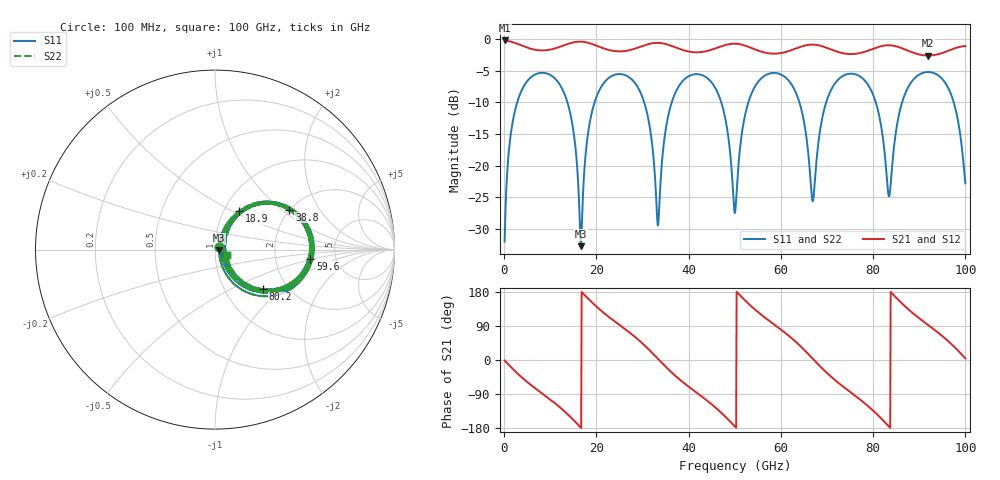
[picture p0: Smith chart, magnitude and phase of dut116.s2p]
! Touchstone file exported from HFSS 2026.1.0
!  File:  C:/ffzhzh/LocalFiles/Ansys_Project_Files/temp_train_TSV_RDL_116_1783636231_26216.aedt
!  Generated:  06:48:05 AM Jul 10, 2026
!  Design:  TSV_RDL
!  Project:  temp_train_TSV_RDL_116_1783636231_26216
! Variables:
!  h_bsmrdl = 3.19um
!  h_ox = 20um
!  h_rdl = 5um
!  h_sub = 59.42um
!  h_tmrdl = 2.45um
!  h_tsv = 59.42um
!  h_via = 3um
!  l_bsmrdl = 164.7um
!  l_sub = 3769.38um
!  l_tmrdl = 689.03um
!  m_sub = 200um
!  pitch = 49.9um
!  r_tsv = 7.75um
!  s_tmrdl = 10um
!  w_bsmrdl = 14.58um
!  w_sub = 500um
!  w_tmrdl = 25.14um
!  x_tsv_center1 = 701.6um
!  x_tsv_center2 = 880.88um
!  x_tsv_center3 = 1595.05um
!  x_tsv_center4 = 1774.33um
!  x_tsv_center5 = 2488.5um
!  x_tsv_center6 = 2667.78um
# GHz S MA R 50.000000
! Terminal data exported
! Port[1] = TM_RDL1_1_T1
! Port[2] = TM_RDL5_1_T1
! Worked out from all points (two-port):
!   1000 points, 100 MHz to 100 GHz, reference 50 ohm
!   highest |S21| = -0.19 dB at 100 MHz (marker M1); lowest = -2.6 dB at 91.9 GHz (marker M2)
!   |S21| within 3 dB of the highest: start of sweep to end of sweep
!   lowest |S11| = -32.7 dB at 16.6 GHz (marker M3), VSWR 1.05, Z = 52.3 - j0.376 ohm
!   |S11| at or under -10 dB: 30.36 GHz to 36.33 GHz (5.963 GHz wide, 17.9 % of centre); 47.07 GHz to 52.94 GHz (5.862 GHz wide, 11.7 % of centre); 64.02 GHz to 69.81 GHz (5.791 GHz wide, 8.65 % of centre) (the widest 3 of 7)
!   |S22| runs from -32.8 to -5.2 dB; largest |S21 - S12| = 4.2e-13
!   S11 on the Smith chart (normalised r, x): 100 MHz: 1.04, +0.03; 18.9 GHz: 1.18, +0.54; 38.8 GHz: 1.99, +1.14; 59.6 GHz: 3.21, -0.47; 80.2 GHz: 1.50, -0.76; 100 GHz: 1.14, -0.06
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0.1  0.02512 31.7  0.9789 -1.4  0.9789 -1.4  0.02512 31.7
! Gamma 0 0 0 0
! Port Impedance 50 0 50 0
2.5  0.287 53.5  0.9313 -31.1  0.9313 -31.1  0.287 53.5
8.1  0.5428 1.3  0.8164 -87.1  0.8164 -87.1  0.5428 1.3
13.9  0.3004 -52.8  0.9208 -144.8  0.9208 -144.8  0.3004 -52.9
16.6  0.02306 -9.0  0.9578 -178.0  0.9578 -178.0  0.02286 -9.1
16.8  0.03033 39.3  0.957 179.4  0.957 179.4  0.03018 39.5
18.9  0.2529 57.6  0.9212 153.6  0.9212 153.6  0.2529 57.6
28.4  0.4489 -28.3  0.8447 60.6  0.8447 60.6  0.4489 -28.3
33.4  0.03413 13.7  0.9373 2.5  0.9373 2.5  0.03419 13.6
38.8  0.4709 28.2  0.821 -59.0  0.821 -59.0  0.4709 28.2
46.3  0.3768 -37.0  0.8598 -130.6  0.8598 -130.6  0.3768 -37.1
50.1  0.04322 16.1  0.9224 -176.4  0.9224 -176.4  0.04218 16.3
53.2  0.3385 49.5  0.8648 145.9  0.8648 145.9  0.3383 49.7
59.6  0.5338 -5.7  0.7741 84.0  0.7741 84.0  0.5338 -5.6
64.1  0.3092 -44.6  0.8677 38.1  0.8677 38.1  0.3092 -44.5
66.7  0.05757 -19.7  0.9077 6.1  0.9077 6.1  0.05778 -19.5
71.6  0.441 33.6  0.812 -51.7  0.812 -51.7  0.4411 33.7
80.2  0.3476 -39.5  0.846 -135.8  0.846 -135.8  0.3478 -39.3
83.4  0.057 -0.7  0.8967 -175.2  0.8967 -175.2  0.05853 -0.6
86.6  0.3445 46.9  0.8393 145.2  0.8393 145.2  0.3447 46.7
91.9  0.5508 2.0  0.7437 92.5  0.7437 92.5  0.5508 2.0
100  0.0724 -23.0  0.8835 4.2  0.8835 4.2  0.07414 -22.3
